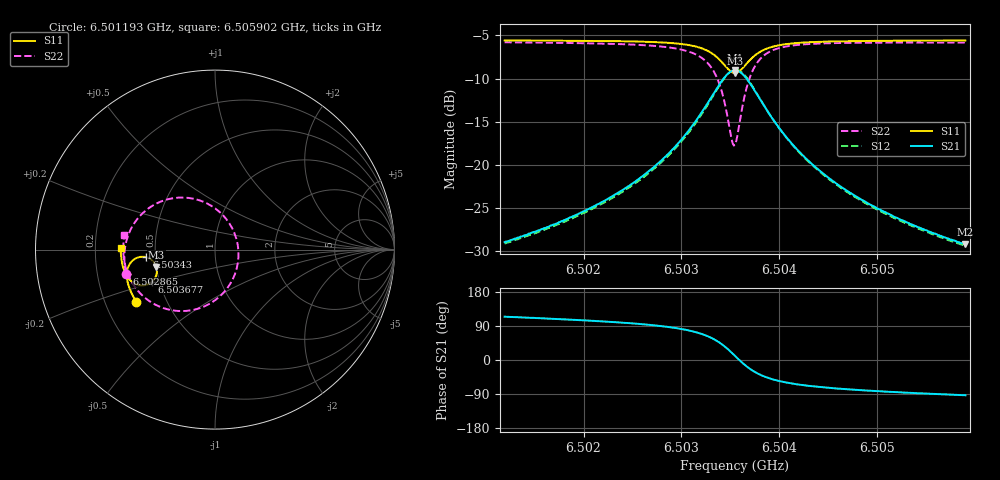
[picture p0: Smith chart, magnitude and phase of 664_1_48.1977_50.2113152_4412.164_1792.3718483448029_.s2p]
#  HZ  S  RI  R  50.00
! Rohde & Schwarz Vector Network Analyzer
! Rohde-Schwarz,ZNB20-2Port,1311601062101988,3.16
! Created: UTC 3/20/2024, 12:05:51 PM
! freq[Hz]  re:S11  im:S11  re:S21  im:S21  re:S12  im:S12  re:S22  im:S22
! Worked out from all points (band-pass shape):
!   401 points, 6.501193 GHz to 6.505902 GHz, reference 50 ohm
!   highest |S21| = -9.03 dB at 6.503548 GHz (marker M1); lowest = -29.2 dB at 6.505902 GHz (marker M2)
!   |S21| within 3 dB of the highest: 6.503312 GHz to 6.503783 GHz (471 kHz wide, 0.00724 % of centre)
!   lowest |S11| = -9.3 dB at 6.503548 GHz (marker M3), VSWR 2.03, Z = 25 - j5.48 ohm
!   |S11| at or under -10 dB: nowhere
!   |S22| runs from -17.8 to -5.8 dB; largest |S21 - S12| = 0.013
!   S11 on the Smith chart (normalised r, x): 6.501193 GHz: 0.34, -0.27; 6.502865 GHz: 0.33, -0.12; 6.50343 GHz: 0.45, -0.04; 6.503677 GHz: 0.46, -0.19; 6.505902 GHz: 0.31, +0.01
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6.5011934e9  -0.438 -0.2914  -0.0147 0.0326  -0.0128 0.0326  -0.4958 -0.1337
6.5019821e9  -0.4701 -0.2312  -0.0138 0.0514  -0.011 0.0508  -0.5052 -0.0458
6.502394e9  -0.4836 -0.1933  -0.0105 0.0705  -0.00722 0.0692  -0.5003 0.0158
6.5027707e9  -0.4914 -0.1496  -0.000232 0.1032  0.00393 0.1006  -0.477 0.0963
6.5028649e9  -0.4914 -0.1363  0.00556 0.1155  0.00996 0.1125  -0.4642 0.1231
6.503065e9  -0.4854 -0.1017  0.0308 0.1525  0.035 0.1474  -0.412 0.1939
6.5032063e9  -0.4688 -0.0712  0.0726 0.1875  0.0759 0.1809  -0.3314 0.254
6.5033357e9  -0.4311 -0.0443  0.1529 0.2138  0.1542 0.2066  -0.1853 0.2901
6.5034299e9  -0.3824 -0.0424  0.248 0.1959  0.2487 0.1901  -0.0206 0.244
6.5035123e9  -0.338 -0.0736  0.329 0.1176  0.3321 0.1123  0.1091 0.0899
6.5035476e9  -0.3267 -0.0969  0.3472 0.0666  0.3512 0.06  0.1305 -0.00603
6.5035712e9  -0.3237 -0.114  0.3505 0.0307  0.3549 0.0223  0.1276 -0.0724
6.5036065e9  -0.3262 -0.1393  0.3426 -0.0215  0.3463 -0.0322  0.0986 -0.1655
6.5036771e9  -0.3497 -0.1782  0.2934 -0.101  0.2931 -0.1142  -0.017 -0.294
6.5037713e9  -0.3922 -0.1985  0.2116 -0.1455  0.2057 -0.1573  -0.1841 -0.3423
6.5038419e9  -0.4194 -0.1985  0.162 -0.1507  0.1543 -0.1598  -0.2769 -0.3291
6.5039243e9  -0.4432 -0.1912  0.1198 -0.1445  0.1117 -0.1507  -0.351 -0.2963
6.5041009e9  -0.4746 -0.1683  0.0673 -0.1209  0.0603 -0.1236  -0.4356 -0.2218
6.5043363e9  -0.4959 -0.1385  0.0359 -0.0943  0.0302 -0.0951  -0.4811 -0.1465
6.5047012e9  -0.5118 -0.0988  0.0155 -0.0686  0.0116 -0.0683  -0.5049 -0.0676
6.505125e9  -0.5208 -0.0585  0.0055 -0.0515  0.00279 -0.0508  -0.5113 -0.00402
6.5059019e9  -0.526 0.00833  -0.00185 -0.0346  -0.00341 -0.0337  -0.5047 0.0822
